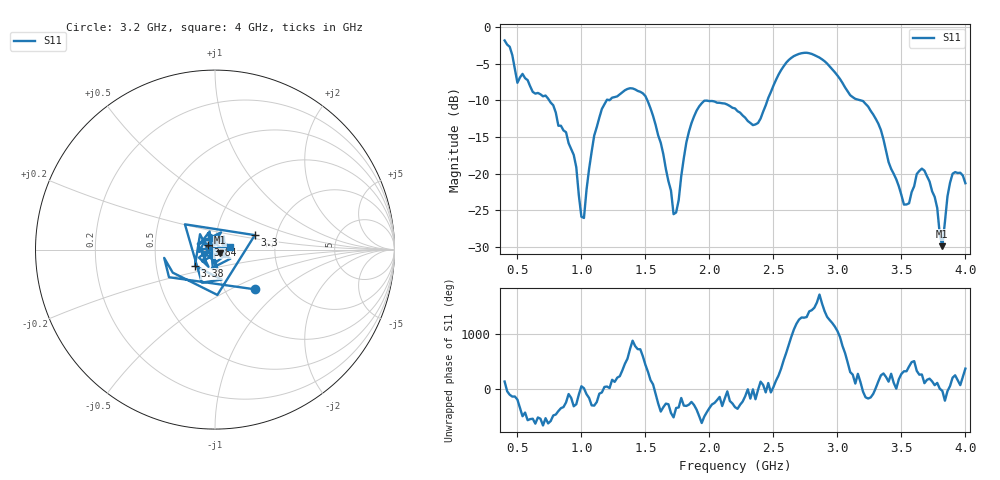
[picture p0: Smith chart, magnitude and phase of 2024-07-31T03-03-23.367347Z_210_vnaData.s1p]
!Created with skrf (http://scikit-rf.org).
# Hz S RI R 50.0
!freq ReS11 ImS11
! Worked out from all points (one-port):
!   181 points, 400 MHz to 4 GHz, reference 50 ohm
!   lowest |S11| = -29.9 dB at 3.82 GHz (marker M1), VSWR 1.07, Z = 52.7 - j1.85 ohm
!   |S11| at or under -10 dB: 748.3 MHz to 1.197 GHz (448.9 MHz wide, 46.1 % of centre); 1.515 GHz to 2.454 GHz (938.6 MHz wide, 47.3 % of centre); 3.183 GHz to end of sweep
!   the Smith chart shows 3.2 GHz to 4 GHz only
!   S11 on the Smith chart (normalised r, x): 3.2 GHz: 1.38, -0.67; 3.3 GHz: 1.54, +0.26; 3.38 GHz: 0.79, -0.15; 3.84 GHz: 0.92, +0.04; 4 GHz: 1.18, +0.04
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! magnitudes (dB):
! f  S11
! 400 MHz  -1.8
! 500 MHz  -7.6
! 860 MHz  -14.1
! 940 MHz  -17.4
! 1.02 GHz  -26.0
! 1.14 GHz  -12.4
! 1.3 GHz  -9.2
! 1.5 GHz  -9.4
! 1.62 GHz  -15.8
! 1.72 GHz  -25.5
! 1.76 GHz  -23.6
! 1.82 GHz  -15.7
! 1.92 GHz  -10.8
! 2.2 GHz  -11.1
! 2.38 GHz  -13.1
! 2.66 GHz  -4.0
! 2.88 GHz  -4.4
! 3.1 GHz  -9.3
! 3.2 GHz  -10.1
! 3.3 GHz  -12.5
! 3.38 GHz  -16.9
! 3.56 GHz  -24.0
! 3.68 GHz  -19.6
! 3.76 GHz  -23.2
! 3.82 GHz  -29.9
! 3.84 GHz  -26.6
! 3.9 GHz  -20.0
! 4 GHz  -21.3
